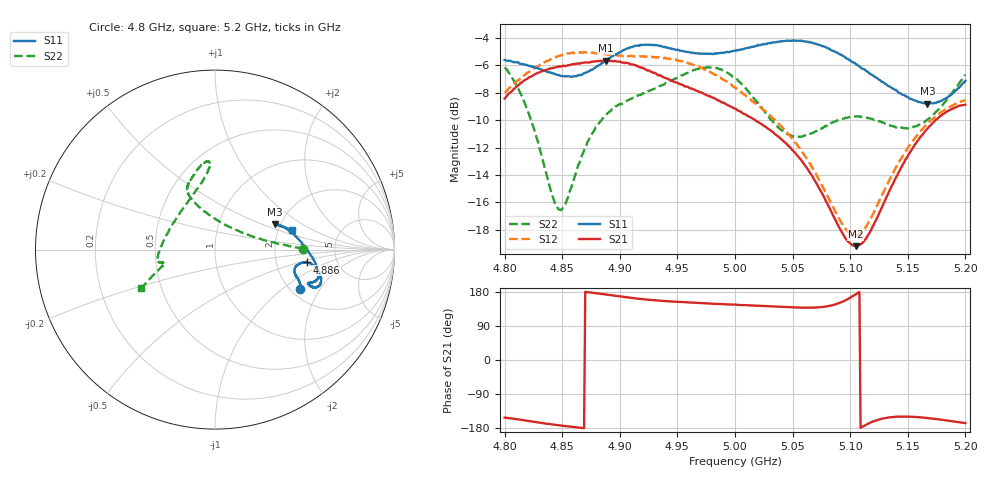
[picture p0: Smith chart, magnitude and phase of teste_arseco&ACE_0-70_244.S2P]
! Network Analyzer HP8722D
! Hewlett-Packard
! Data name: Linha & Wilkinson
! Saver's name: Rodrigo Anjos
! Comments: Teste da utilização de aquisição
! continua pelo VNA HP8722D
! Time and date: 8/5/2025 14:47
!  Frequency  S11  S21  S12  S22
# HZ  S  MA R 50
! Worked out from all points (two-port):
!   401 points, 4.8 GHz to 5.2 GHz, reference 50 ohm
!   highest |S21| = -5.65 dB at 4.888 GHz (marker M1); lowest = -19.2 dB at 5.105 GHz (marker M2)
!   |S21| within 3 dB of the highest: start of sweep to 4.987 GHz
!   lowest |S11| = -8.8 dB at 5.167 GHz (marker M3), VSWR 2.14, Z = 93.6 + j30.9 ohm
!   |S11| at or under -10 dB: nowhere
!   |S22| runs from -16.6 to -6.1 dB; largest |S21 - S12| = 1.1
!   S11 on the Smith chart (normalised r, x): 4.8 GHz: 2.23, -1.37; 4.886 GHz: 3.01, -0.59; 5.2 GHz: 2.36, +0.65
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4.8e9  0.5248 -25.0  0.3795 -152.1  0.3995 7.4  0.4924 0.5
4.82e9  0.5019 -20.5  0.4491 -160.4  0.4728 4.4  0.3431 6.0
4.842e9  0.4689 -17.2  0.4914 -170.3  0.5315 1.1  0.1655 40.0
4.846e9  0.4626 -16.4  0.4956 -172.0  0.5414 0.2  0.1513 54.5
4.853e9  0.4572 -14.6  0.4989 -174.3  0.5516 -0.9  0.1571 80.3
4.867e9  0.4628 -10.8  0.5121 -179.4  0.5581 -2.9  0.2345 107.5
4.886e9  0.5164 -8.0  0.5213 173.9  0.5524 -4.0  0.3231 115.4
4.888e9  0.5221 -8.1  0.5221 172.9  0.5501 -4.2  0.3292 115.5
4.911e9  0.5856 -11.6  0.5047 163.6  0.5427 -3.2  0.3815 113.6
4.934e9  0.5913 -16.8  0.4615 156.6  0.5377 -4.1  0.421 107.7
4.975e9  0.5527 -19.9  0.3916 149.4  0.4835 -7.6  0.4918 95.6
5e9  0.5678 -20.8  0.3483 145.8  0.4174 -7.5  0.45 94.5
5.042e9  0.615 -19.0  0.2653 140.0  0.2949 0.5  0.2869 129.5
5.067e9  0.606 -14.2  0.1981 138.2  0.2127 8.4  0.2842 165.2
5.093e9  0.5449 -4.9  0.1228 153.6  0.1324 32.9  0.3202 -173.8
5.105e9  0.5068 0.8  0.1097 173.6  0.1202 56.1  0.3266 -169.8
5.116e9  0.4719 6.6  0.1212 -167.4  0.1342 76.5  0.3217 -167.5
5.134e9  0.4205 15.5  0.1745 -151.4  0.1909 94.2  0.304 -166.8
5.152e9  0.3787 21.8  0.2417 -149.6  0.2577 99.1  0.2975 -164.7
5.167e9  0.3638 23.2  0.2942 -153.2  0.3069 99.5  0.3175 -161.8
5.182e9  0.3781 20.9  0.3356 -158.8  0.3452 99.6  0.3667 -157.6
5.2e9  0.4405 14.6  0.3604 -166.5  0.3752 100.1  0.4633 -152.3
